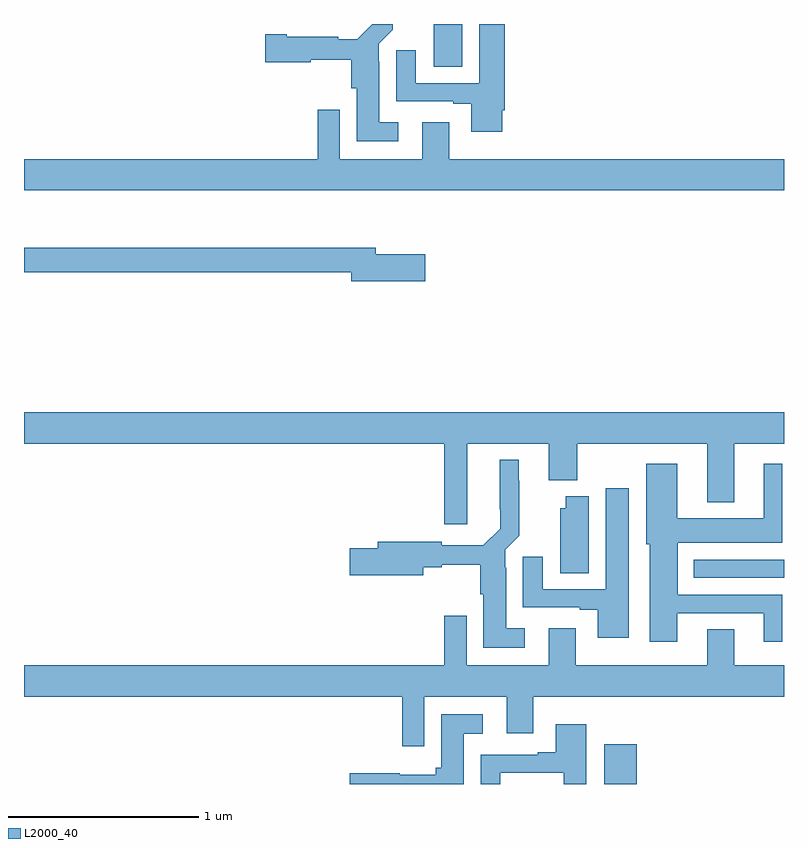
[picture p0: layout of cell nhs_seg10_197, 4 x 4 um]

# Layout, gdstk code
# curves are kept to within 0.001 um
import gdstk
lib = gdstk.Library(unit=1e-6, precision=1e-09)
def R(c, l, rs):  # rectangles x0, y0, x1, y1
    for r in rs: c.add(gdstk.rectangle(r[:2], r[2:], *l))
def P(c, l, *ps):  # polygons
    for p in ps: c.add(gdstk.Polygon(p, *l))
L2000_40 = (2000, 40)

nhs_seg10_197 = lib.new_cell('nhs_seg10_197')
R(nhs_seg10_197, L2000_40, [(122.054,1322.5,122.225,1322.71), (122.525,1323.585,123,1323.681), (121.157,1326.274,121.306,1326.5)])
P(nhs_seg10_197, L2000_40, [(120.97,1325.983),(120.871,1325.983),(120.871,1326.302),(120.867,1326.302),(120.867,1326.396),(120.941,1326.47),(120.941,1326.5),(120.832,1326.5),(120.753,1326.421),(120.654,1326.421),(120.654,1326.433),(120.382,1326.433),(120.382,1326.446),(120.27,1326.446),(120.27,1326.299),(120.51,1326.299),(120.51,1326.311),(120.722,1326.311),(120.722,1326.162),(120.752,1326.162),(120.752,1325.882),(120.97,1325.882)],
  [(121.516,1326.046),(121.529,1326.046),(121.529,1326.5),(121.397,1326.5),(121.397,1326.189),(121.063,1326.189),(121.063,1326.361),(120.959,1326.361),(120.959,1326.093),(121.259,1326.093),(121.259,1326.081),(121.355,1326.081),(121.355,1325.934),(121.516,1325.934)],
  [(123,1325.788),(121.237,1325.788),(121.237,1325.983),(121.097,1325.983),(121.097,1325.788),(120.663,1325.788),(120.663,1326.049),(120.547,1326.049),(120.547,1325.788),(119,1325.788),(119,1325.624),(123,1325.624)],
  [(121.111,1325.289),(120.85,1325.289),(120.85,1325.323),(119,1325.323),(119,1325.194),(120.722,1325.194),(120.722,1325.147),(121.111,1325.147)],
  [(121.333,1324.292),(121.763,1324.292),(121.763,1324.1),(121.911,1324.1),(121.911,1324.292),(122.597,1324.292),(122.597,1323.983),(122.737,1323.983),(122.737,1324.292),(123,1324.292),(123,1324.456),(119,1324.456),(119,1324.292),(121.211,1324.292),(121.211,1323.867),(121.333,1323.867)],
  [(121.636,1323.319),(121.537,1323.319),(121.537,1323.638),(121.533,1323.638),(121.533,1323.732),(121.607,1323.806),(121.607,1324.097),(121.603,1324.097),(121.603,1324.207),(121.505,1324.207),(121.506,1323.844),(121.418,1323.756),(121.198,1323.756),(121.198,1323.776),(120.863,1323.776),(120.863,1323.74),(120.714,1323.74),(120.714,1323.598),(121.102,1323.598),(121.102,1323.64),(121.198,1323.64),(121.198,1323.655),(121.4,1323.655),(121.4,1323.498),(121.418,1323.498),(121.418,1323.218),(121.636,1323.218)],
  [(122.437,1323.399),(122.894,1323.399),(122.894,1323.249),(122.992,1323.249),(122.992,1323.495),(122.44,1323.495),(122.44,1323.77),(122.992,1323.77),(122.992,1324.186),(122.894,1324.186),(122.894,1323.898),(122.437,1323.898),(122.437,1324.186),(122.276,1324.186),(122.276,1323.762),(122.294,1323.762),(122.294,1323.249),(122.437,1323.249)],
  [(122.182,1324.057),(122.063,1324.057),(122.063,1323.525),(121.729,1323.525),(121.729,1323.697),(121.625,1323.697),(121.625,1323.429),(121.925,1323.429),(121.925,1323.417),(122.021,1323.417),(122.021,1323.27),(122.182,1323.27)],
  [(121.972,1324.015),(121.85,1324.015),(121.85,1323.951),(121.823,1323.951),(121.823,1323.61),(121.972,1323.61)],
  [(121.107,1322.96),(121.541,1322.96),(121.541,1322.766),(121.681,1322.766),(121.681,1322.96),(123,1322.96),(123,1323.124),(122.737,1323.124),(122.737,1323.314),(122.597,1323.314),(122.597,1323.124),(121.903,1323.124),(121.903,1323.319),(121.763,1323.319),(121.763,1323.124),(121.329,1323.124),(121.329,1323.385),(121.213,1323.385),(121.213,1323.124),(119,1323.124),(119,1322.96),(120.991,1322.96),(120.991,1322.7),(121.107,1322.7)],
  [(121.315,1322.765),(121.414,1322.765),(121.414,1322.866),(121.196,1322.866),(121.196,1322.586),(121.166,1322.586),(121.166,1322.548),(120.978,1322.548),(120.978,1322.556),(120.714,1322.556),(120.714,1322.5),(121.315,1322.5)],
  [(121.507,1322.559),(121.841,1322.559),(121.841,1322.5),(121.96,1322.5),(121.96,1322.815),(121.799,1322.815),(121.799,1322.668),(121.703,1322.668),(121.703,1322.655),(121.403,1322.655),(121.403,1322.5),(121.507,1322.5)])

lib.write_gds('nhs_seg10_197.gds')
